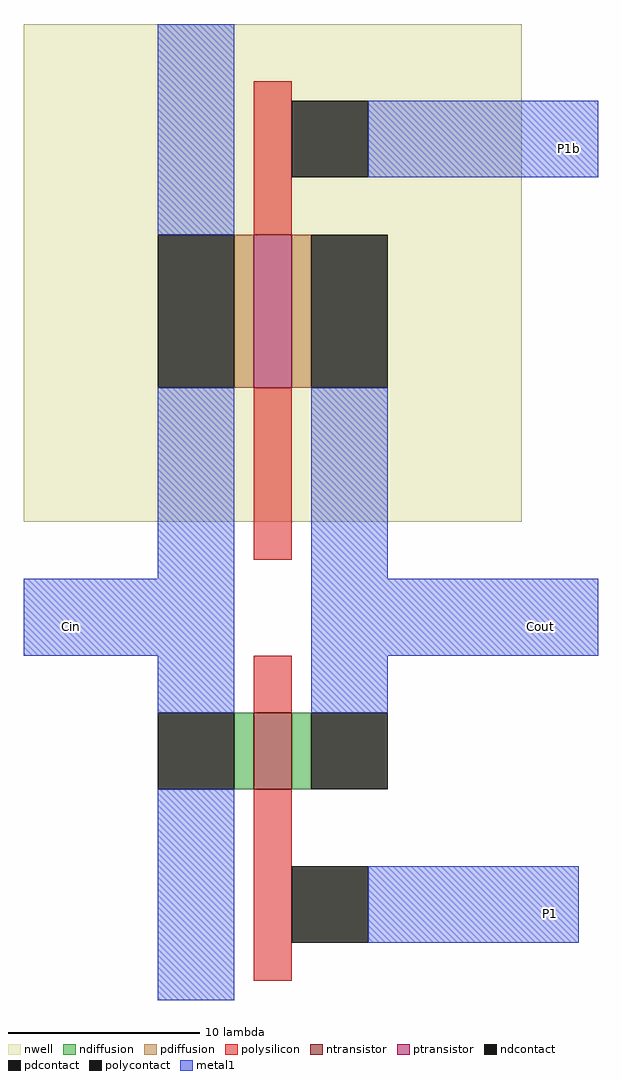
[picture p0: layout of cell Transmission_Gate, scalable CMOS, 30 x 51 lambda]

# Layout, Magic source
magic
tech scmos
<< nwell >>
rect 390 538 416 564
<< ntransistor >>
rect 402 524 404 528
<< ptransistor >>
rect 402 545 404 553
<< ndiffusion >>
rect 401 524 402 528
rect 404 524 405 528
<< pdiffusion >>
rect 401 545 402 553
rect 404 545 405 553
<< ndcontact >>
rect 397 524 401 528
rect 405 524 409 528
<< pdcontact >>
rect 397 545 401 553
rect 405 545 409 553
<< polysilicon >>
rect 402 553 404 561
rect 402 536 404 545
rect 402 528 404 531
rect 402 514 404 524
<< polycontact >>
rect 404 556 408 560
rect 404 516 408 520
<< metal1 >>
rect 397 553 401 564
rect 408 556 420 560
rect 397 535 401 545
rect 390 531 401 535
rect 397 528 401 531
rect 405 535 409 545
rect 405 531 420 535
rect 405 528 409 531
rect 397 513 401 524
rect 408 516 419 520
<< labels >>
rlabel metal1 418 557 419 558 1 P1b
rlabel metal1 417 517 418 518 1 P1
rlabel metal1 392 532 393 533 3 Cin
rlabel metal1 416 532 418 533 7 Cout
<< end >>
